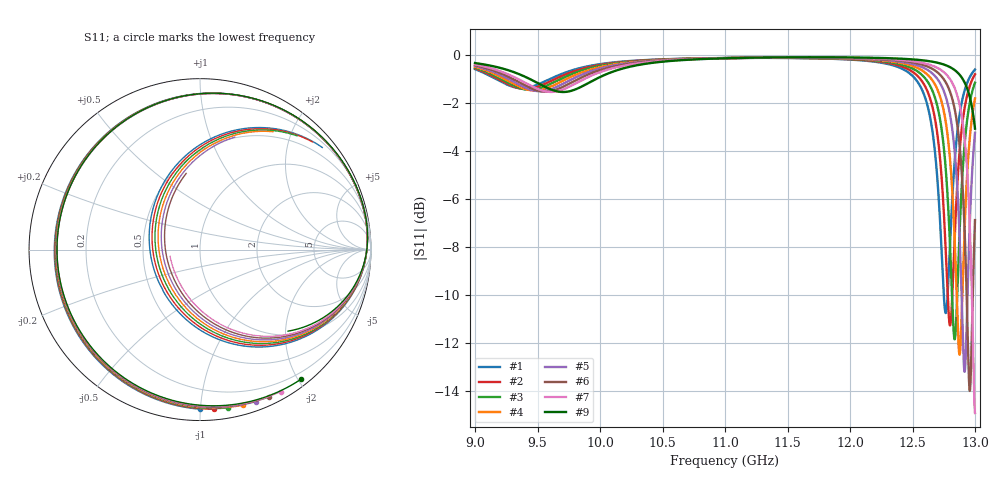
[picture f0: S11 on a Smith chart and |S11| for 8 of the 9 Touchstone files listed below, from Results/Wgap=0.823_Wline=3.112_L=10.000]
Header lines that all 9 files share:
! TOUCHSTONE file generated by CST DESIGN STUDIO
! Project name: C:\Work\MatlabApps\UnitCellOptimizationMatlab\CST\unitcell.cst
! Tree item: Tasks\Sweep1\SPara1\S-Parameters
! Header version: 2024
! Port assignment regex: !\s*Touchstone port\s*([0-9]+)\s*=\s*(CST MWS port|CST DES external port|CST DES block port)\s*(.+)\s* \(\"(.*)\"\)(\s*mode\s*([0-9]+))?.*
! Touchstone port assignment:
! Touchstone port 1 = CST DES external port 1 ("")
# GHz S MA R 50
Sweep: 9 GHz to 13 GHz
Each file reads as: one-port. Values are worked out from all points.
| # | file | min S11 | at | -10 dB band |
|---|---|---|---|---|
| 1 | DS_for_MWS-run-0001.s1p | -10.8 dB | 12.77 GHz | 30.8 MHz wide |
| 2 | DS_for_MWS-run-0002.s1p | -11.3 dB | 12.8 GHz | 37.1 MHz wide |
| 3 | DS_for_MWS-run-0003.s1p | -11.8 dB | 12.84 GHz | 41.92 MHz wide |
| 4 | DS_for_MWS-run-0004.s1p | -12.5 dB | 12.88 GHz | 45.28 MHz wide |
| 5 | DS_for_MWS-run-0005.s1p | -13.2 dB | 12.92 GHz | 47.54 MHz wide |
| 6 | DS_for_MWS-run-0006.s1p | -14.0 dB | 12.96 GHz | 48.93 MHz wide |
| 7 | DS_for_MWS-run-0007.s1p | -14.9 dB | 13 GHz | over 24.94 MHz wide |
| 8 | DS_for_MWS-run-0008.s1p | -6.8 dB | 13 GHz | - |
| 9 | DS_for_MWS-run-0009.s1p | -3.1 dB | 13 GHz | - |
